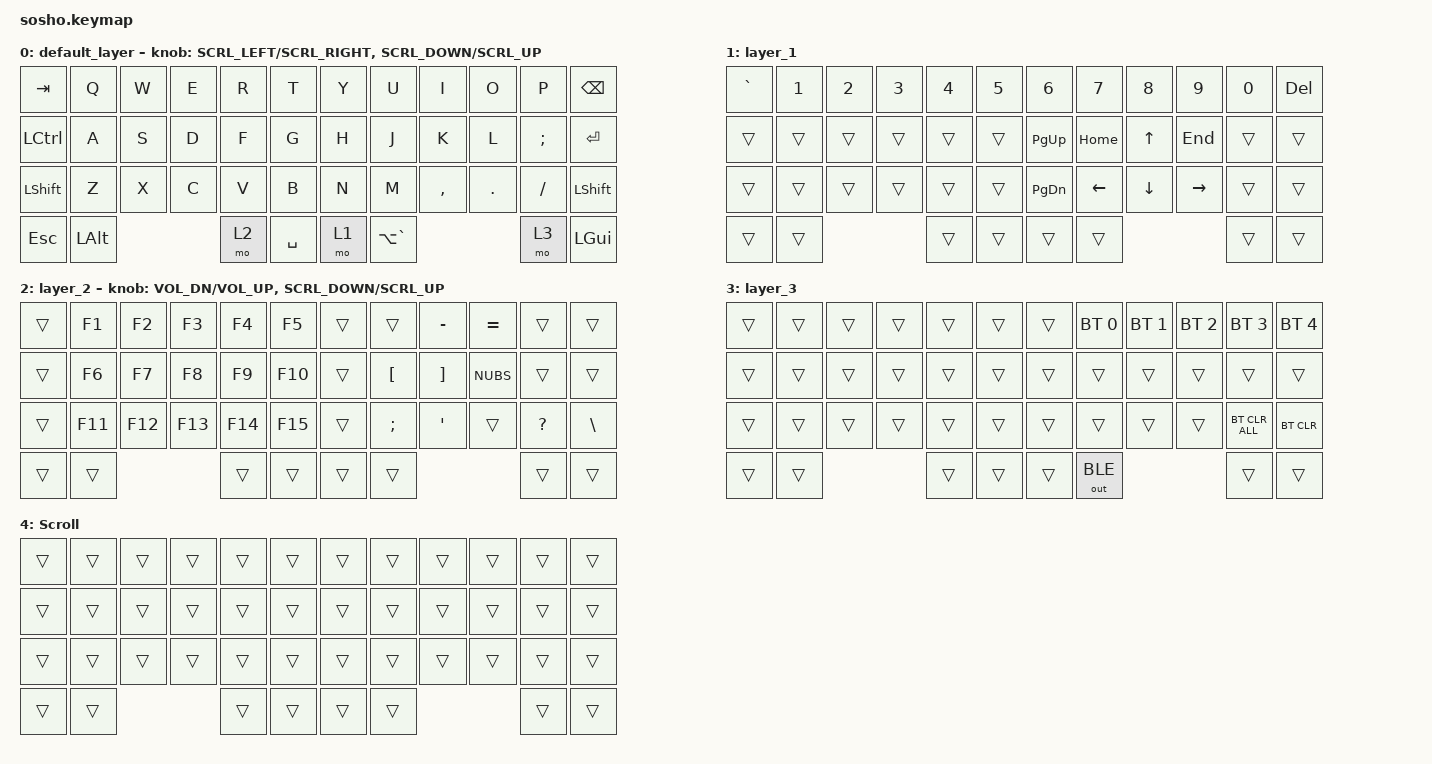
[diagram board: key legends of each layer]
//スクロール量の調整(デフォルト150)
#define ZMK_POINTING_DEFAULT_SCRL_VAL 150

#include <behaviors.dtsi>
#include <dt-bindings/zmk/bt.h>
#include <dt-bindings/zmk/keys.h>
#include <dt-bindings/zmk/pointing.h>
#include <dt-bindings/zmk/outputs.h>

//スクロールモード用レイヤーの番号(keymap内の scroll レイヤー。overlay側の SCROLL_LAYER と合わせること)
#define SCROLL 4

/ {
	behaviors {
        ec_ms_l: ec_ms_h {
            compatible = "zmk,behavior-encoder-mouse-scroll";
            #sensor-binding-cells = <2>;
        };
        ec_ms_r: ec_ms_v {
            compatible = "zmk,behavior-encoder-mouse-scroll";
            #sensor-binding-cells = <2>;
        };
    };
};

//スクロールの調整
&msc {
    time-to-max-speed-ms = <0>;   // 即座に最大速度（加速なし）
    acceleration-exponent = <0>;   // 加速なし
};

/{
    combos {
        compatible = "zmk,combos";
		//左クリックのコンボ 19はJのキー 20はKのキーに相当します。
	    combo_LCLK {
            timeout-ms = <50>;
            key-positions = <19 20>;
            bindings = <&mkp LCLK>;
        };

		//右クリックのコンボ 20 K 21 L
        combo_RCLK {
            timeout-ms = <50>;
            key-positions = <20 21>;
            bindings = <&mkp RCLK>;
        };

		//ホイールクリックのコンボ 19 J 21 L
	    combo_MCLK {
            timeout-ms = <90>;
            key-positions = <19 21>;
            bindings = <&mkp MCLK>;
        };

		//押している間スクロールモードのコンボ 21 L 22 ;
        combo_SCROLL_R {
            timeout-ms = <50>;
            require-prior-idle-ms = <150>; //直前150ms以内に他のキーを打っていたら発動しない(誤爆防止)
            key-positions = <21 22>;
            bindings = <&mo SCROLL>;
        };

		//---- 左手側 ----
		//左クリックのコンボ 15 D 16 F
        combo_LCLK_L {
            timeout-ms = <50>;
            require-prior-idle-ms = <150>; //直前150ms以内に他のキーを打っていたら発動しない(誤爆防止)
            key-positions = <15 16>;
            bindings = <&mkp LCLK>;
        };

		//右クリックのコンボ 14 S 15 D
        combo_RCLK_L {
            timeout-ms = <50>;
            require-prior-idle-ms = <150>; //直前150ms以内に他のキーを打っていたら発動しない(誤爆防止)
            key-positions = <14 15>;
            bindings = <&mkp RCLK>;
        };

		//ホイールクリックのコンボ 14 S 16 F (右手側の J+L に合わせて 90ms)
        combo_MCLK_L {
            timeout-ms = <90>;
            require-prior-idle-ms = <150>; //直前150ms以内に他のキーを打っていたら発動しない(誤爆防止)
            key-positions = <14 16>;
            bindings = <&mkp MCLK>;
        };

		//押している間スクロールモードのコンボ 13 A 14 S
        combo_SCROLL_L {
            timeout-ms = <50>;
            require-prior-idle-ms = <150>; //直前150ms以内に他のキーを打っていたら発動しない(誤爆防止)
            key-positions = <13 14>;
            bindings = <&mo SCROLL>;
        };

    };
};

/{
keymap {
    compatible = "zmk,keymap";

    default_layer {
        bindings = <
            &kp TAB    &kp Q   &kp W  &kp E  &kp R  &kp T      &kp Y  &kp U  &kp I      &kp O    &kp P     &kp BSPC
            &kp LCTRL  &kp A   &kp S  &kp D  &kp F  &kp G      &kp H  &kp J  &kp K      &kp L    &kp SEMI  &kp ENTER
            &kp LSHFT  &kp Z   &kp X  &kp C  &kp V  &kp B      &kp N  &kp M  &kp COMMA  &kp DOT  &kp SLASH &kp LSHFT
            &kp ESC    &kp LALT              &mo 2  &kp SPACE  &mo 1  &kp LA(GRAVE)              &mo 3     &kp LGUI
        >;
		//&ec_ms_lとrは、上のビヘイビアで作ったもの。
        sensor-bindings = <&ec_ms_l SCRL_LEFT SCRL_RIGHT &ec_ms_r SCRL_DOWN SCRL_UP>;
    };
	
    layer_1 {
        bindings = <
            &kp GRAVE &kp N1  &kp N2  &kp N3  &kp N4  &kp N5       &kp N6    &kp N7   &kp N8   &kp N9    &kp N0 &kp DEL
            &trans    &trans &trans &trans &trans &trans           &kp PG_UP &kp HOME &kp UP   &kp END   &trans &trans
            &trans    &trans &trans &trans &trans &trans           &kp PG_DN &kp LEFT &kp DOWN &kp RIGHT &trans &trans
            &trans    &trans               &trans &trans           &trans    &trans                      &trans &trans
        >;
    };

    layer_2 {
        bindings = <
            &trans &kp F1  &kp F2  &kp F3  &kp F4  &kp F5     &trans  &trans    &kp MINUS &kp EQUAL &trans     &trans
            &trans &kp F6  &kp F7  &kp F8  &kp F9  &kp F10    &trans  &kp LBKT  &kp RBKT  &kp NUBS  &trans     &trans
            &trans &kp F11 &kp F12 &kp F13 &kp F14 &kp F15    &trans  &kp SEMI  &kp SQT   &trans    &kp QMARK  &kp BSLH
            &trans &trans                  &trans  &trans     &trans  &trans                        &trans     &trans
        >;
		//レイヤー2のときだけ、左手のエンコーダを回すとボリュームの上下ができるようになっています。
		sensor-bindings = <&inc_dec_kp C_VOL_DN C_VOL_UP &ec_ms_r SCRL_DOWN SCRL_UP>;

    };

    layer_3 {
        bindings = <
            &trans &trans &trans &trans &trans &trans      &trans  &bt BT_SEL 0  &bt BT_SEL 1  &bt BT_SEL 2  &bt BT_SEL 3   &bt BT_SEL 4
            &trans &trans &trans &trans &trans &trans      &trans  &trans        &trans        &trans        &trans         &trans
            &trans &trans &trans &trans &trans &trans      &trans  &trans        &trans        &trans        &bt BT_CLR_ALL &bt BT_CLR
            &trans &trans               &trans &trans      &trans  &out OUT_BLE                                    &trans         &trans
        >;
    };
    //押している間だけポインティングデバイスの動きをスクロールに変えるためのレイヤー(4番)。
    //キーはすべて透過(&trans)なので、このレイヤー中もキー入力は通常どおりです。
    //実際のスクロール変換は boards/shields/sosho/sosho_R_*.overlay の scroller で行います。
    scroll {
        display-name = "Scroll";
        bindings = <
            &trans &trans &trans &trans &trans &trans      &trans &trans &trans &trans &trans &trans
            &trans &trans &trans &trans &trans &trans      &trans &trans &trans &trans &trans &trans
            &trans &trans &trans &trans &trans &trans      &trans &trans &trans &trans &trans &trans
            &trans &trans               &trans &trans      &trans &trans               &trans &trans
        >;
    };

    extra2 {
        status = "reserved";
    };
};
};
